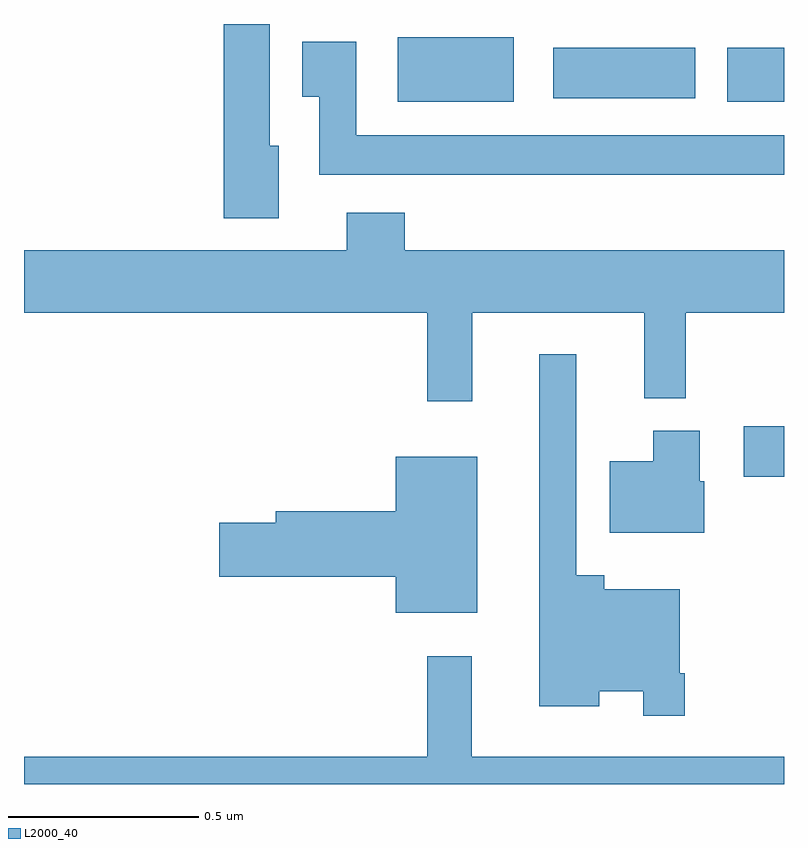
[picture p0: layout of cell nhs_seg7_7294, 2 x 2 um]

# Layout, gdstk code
import gdstk
lib = gdstk.Library(unit=1e-6, precision=1e-09)
def R(c, l, rs):  # rectangles x0, y0, x1, y1
    for r in rs: c.add(gdstk.rectangle(r[:2], r[2:], *l))
def P(c, l, *ps):  # polygons
    for p in ps: c.add(gdstk.Polygon(p, *l))
L2000_40 = (2000, 40)

nhs_seg7_7294 = lib.new_cell('nhs_seg7_7294')
R(nhs_seg7_7294, L2000_40, [(210.894,1042.808,211,1042.942), (209.984,1043.795,210.289,1043.965), (210.851,1043.795,211,1043.938), (210.393,1043.804,210.766,1043.938)])
P(nhs_seg7_7294, L2000_40, [(209.671,1043.679),(209.647,1043.679),(209.647,1044),(209.525,1044),(209.525,1043.489),(209.671,1043.489)],
  [(211,1043.707),(209.874,1043.707),(209.874,1043.953),(209.732,1043.953),(209.732,1043.809),(209.777,1043.809),(209.777,1043.603),(211,1043.603)],
  [(210.179,1043.24),(210.632,1043.24),(210.632,1043.015),(210.742,1043.015),(210.742,1043.24),(211,1043.24),(211,1043.404),(210.002,1043.404),(210.002,1043.503),(209.849,1043.503),(209.849,1043.404),(209,1043.404),(209,1043.24),(210.061,1043.24),(210.061,1043.007),(210.179,1043.007)],
  [(210.739,1042.291),(210.726,1042.291),(210.726,1042.513),(210.527,1042.513),(210.527,1042.549),(210.453,1042.549),(210.453,1043.131),(210.356,1043.131),(210.356,1042.205),(210.514,1042.205),(210.514,1042.244),(210.63,1042.244),(210.63,1042.179),(210.739,1042.179)],
  [(210.79,1042.797),(210.778,1042.797),(210.778,1042.93),(210.656,1042.93),(210.656,1042.849),(210.542,1042.849),(210.542,1042.661),(210.79,1042.661)],
  [(210.193,1042.861),(209.978,1042.861),(209.978,1042.718),(209.663,1042.718),(209.663,1042.688),(209.514,1042.688),(209.514,1042.546),(209.978,1042.546),(209.978,1042.451),(210.193,1042.451)],
  [(211,1042.072),(210.178,1042.072),(210.178,1042.336),(210.061,1042.336),(210.061,1042.072),(209,1042.072),(209,1042),(211,1042)])

lib.write_gds('nhs_seg7_7294.gds')
